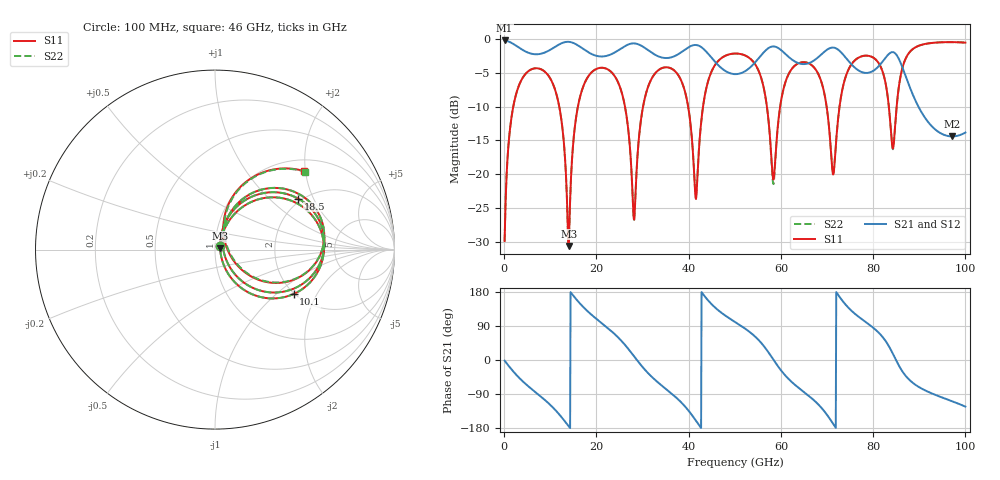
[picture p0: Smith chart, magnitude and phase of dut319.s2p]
! Touchstone file exported from HFSS 2026.1.0
!  File:  C:/ffzhzh/LocalFiles/Ansys_Project_Files/temp_train_TSV_RDL_319_1783701299_45496.aedt
!  Generated:  12:44:01 AM Jul 11, 2026
!  Design:  TSV_RDL
!  Project:  temp_train_TSV_RDL_319_1783701299_45496
! Variables:
!  h_bsmrdl = 2.79um
!  h_ox = 20um
!  h_rdl = 5um
!  h_sub = 50.62um
!  h_tmrdl = 3.42um
!  h_tsv = 50.62um
!  h_via = 3um
!  l_bsmrdl = 580.5um
!  l_sub = 4388.12um
!  l_tmrdl = 535.42um
!  m_sub = 200um
!  pitch = 51.62um
!  r_tsv = 12.33um
!  s_tmrdl = 10um
!  w_bsmrdl = 20.15um
!  w_sub = 500um
!  w_tmrdl = 14.83um
!  x_tsv_center1 = 542.835um
!  x_tsv_center2 = 1143.485um
!  x_tsv_center3 = 1693.735um
!  x_tsv_center4 = 2294.385um
!  x_tsv_center5 = 2844.635um
!  x_tsv_center6 = 3445.285um
# GHz S MA R 50.000000
! Terminal data exported
! Port[1] = TM_RDL1_1_T1
! Port[2] = TM_RDL5_1_T1
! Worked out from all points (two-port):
!   1000 points, 100 MHz to 100 GHz, reference 50 ohm
!   highest |S21| = -0.23 dB at 100 MHz (marker M1); lowest = -14.4 dB at 97.1 GHz (marker M2)
!   |S21| within 3 dB of the highest: start of sweep to 45.53 GHz; 54.72 GHz to 62.77 GHz (8.051 GHz wide, 13.7 % of centre) (the widest 2 of 4)
!   lowest |S11| = -30.6 dB at 14 GHz (marker M3), VSWR 1.06, Z = 52.9 + j0.86 ohm
!   |S11| at or under -10 dB: 11.95 GHz to 15.99 GHz (4.045 GHz wide, 29 % of centre); 26.19 GHz to 30.11 GHz (3.92 GHz wide, 13.9 % of centre); 39.89 GHz to 43.12 GHz (3.231 GHz wide, 7.78 % of centre) (the widest 3 of 7)
!   |S22| runs from -30.6 to -0.5 dB; largest |S21 - S12| = 3.1e-11
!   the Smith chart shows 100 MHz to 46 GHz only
!   S11 on the Smith chart (normalised r, x): 100 MHz: 1.05, +0.04; 10.1 GHz: 1.98, -1.31; 18.5 GHz: 1.91, +1.54; 46 GHz: 1.26, +1.96
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0.1  0.03211 33.7  0.9736 -1.7  0.9736 -1.7  0.03211 33.7
! Gamma 0 0 0 0
! Port Impedance 50 0 50 0
2.9  0.4233 43.4  0.8765 -42.6  0.8765 -42.6  0.4233 43.4
10.1  0.5027 -29.5  0.8345 -119.7  0.8345 -119.7  0.5028 -29.5
14  0.02962 15.9  0.9511 -174.8  0.9511 -174.8  0.02946 15.8
16.8  0.4109 49.8  0.8586 144.3  0.8586 144.3  0.4108 49.9
18.5  0.5438 31.4  0.7877 124.1  0.7877 124.1  0.5437 31.5
25.1  0.4418 -32.3  0.8388 54.8  0.8388 54.8  0.4417 -32.3
28.2  0.04633 17.3  0.9263 9.2  0.9263 9.2  0.04605 17.4
33.4  0.586 28.0  0.7437 -59.7  0.7437 -59.7  0.586 28.1
38.8  0.4531 -22.7  0.8147 -117.0  0.8147 -117.0  0.4532 -22.4
41.6  0.06563 23.1  0.9013 -160.4  0.9013 -160.4  0.06971 23.0
46  0.6614 41.4  0.6616 135.5  0.6616 135.5  0.6618 41.1
50.1  0.7795 9.5  0.549 100.0  0.549 100.0  0.7797 9.2
58.4  0.09147 5.2  0.8796 0.6  0.8796 0.6  0.08462 5.5
61.2  0.504 38.5  0.7614 -44.1  0.7614 -44.1  0.5032 39.2
66.7  0.6384 -9.3  0.6771 -101.3  0.6771 -101.3  0.6384 -9.0
72.1  0.1985 57.1  0.8465 177.4  0.8465 177.4  0.1998 56.6
78.5  0.7522 8.6  0.5603 99.2  0.5603 99.2  0.7523 8.5
83.4  0.3171 -31.1  0.7736 36.6  0.7736 36.6  0.3168 -31.3
86.9  0.6968 38.2  0.5478 -39.5  0.5478 -39.5  0.6961 38.4
97.1  0.9463 -19.3  0.1905 -108.8  0.1905 -108.8  0.9461 -19.2
100  0.9384 -31.6  0.2034 -123.0  0.2034 -123.0  0.9382 -31.6
